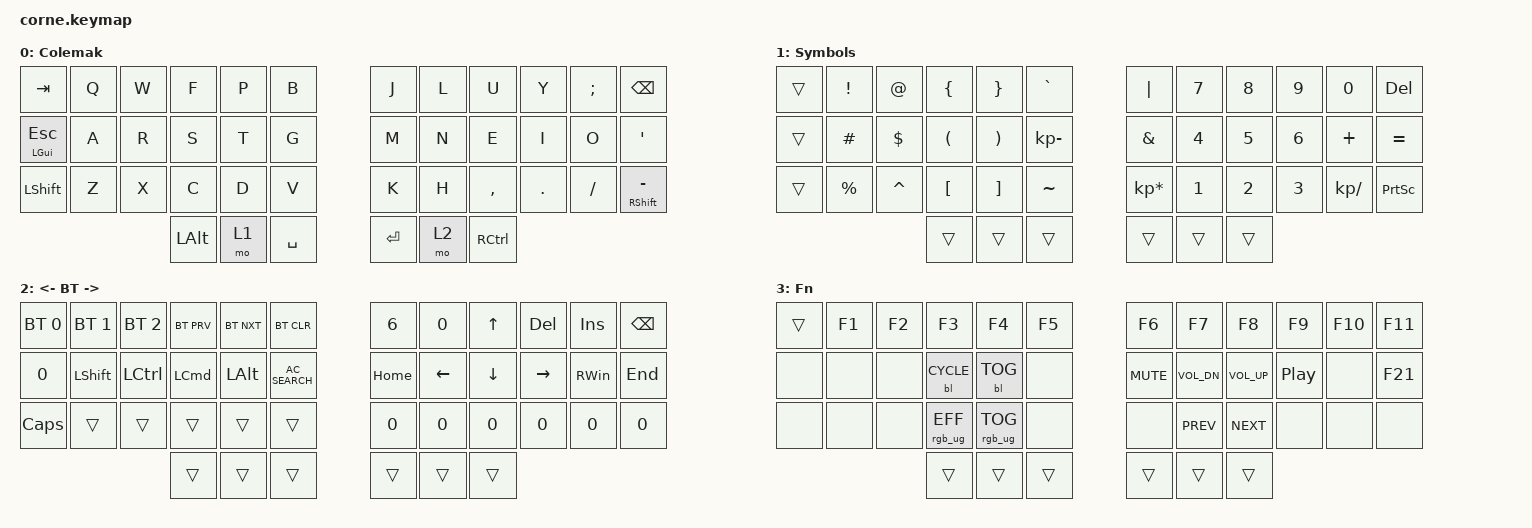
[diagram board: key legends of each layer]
/*
 * Copyright (c) 2020 The ZMK Contributors
 *
 * SPDX-License-Identifier: MIT
 */

#include <behaviors.dtsi>
#include <dt-bindings/zmk/backlight.h>
#include <dt-bindings/zmk/bt.h>
#include <dt-bindings/zmk/keys.h>
#include <dt-bindings/zmk/rgb.h>

/ {
    keymap {
        compatible = "zmk,keymap";

        // -----------------------------------------------------------------------------------------
        // |  TAB |  Q  |  W  |  F  |  P  |  B  |   |  J  |  L   |  U  |  Y  |  ;  | BKSP |
        // | GUI |  A  |  R  |  S  |  T  |  G  |   |  M  |  N   |  E  |  I  |  O  |  '   |
        // | LSHFT |  Z  |  X  |  C  |  D  |  V  |   |  K  |  H   |  ,  |  .  |  /  | SHFT  |
        //                    | ALT | LWR | SPC |   | ENT | RSE  | CTRL |

        default_layer {
            bindings = <
&kp TAB           &kp Q  &kp W  &kp F     &kp P  &kp B        &kp J    &kp L  &kp U      &kp Y    &kp SEMI  &kp BSPC
&mt LEFT_GUI ESC  &kp A  &kp R  &kp S     &kp T  &kp G        &kp M    &kp N  &kp E      &kp I    &kp O     &kp SQT
&kp LSHFT         &kp Z  &kp X  &kp C     &kp D  &kp V        &kp K    &kp H  &kp COMMA  &kp DOT  &kp FSLH  &mt RIGHT_SHIFT MINUS
                                &kp LALT  &mo 1  &kp SPACE    &kp RET  &mo 2  &kp RCTRL
            >;

            label = "Colemak";
        };

        lower_layer {
            // -----------------------------------------------------------------------------------------
            // |  TAB |  !  |  @  |  #  |  $  |  %  |   |  ^  |  &  |  *  |  (  |  )  | BKSP |
            // | CTRL |     |     |     |     |     |   |  -  |  =  |  [  |  ]  |  \  |  `   |
            // | SHFT |     |     |     |     |     |   |  _  |  +  |  {  |  }  | "|" |  ~   |
            //                    | GUI |     | SPC |   | ENT |     | ALT |

            bindings = <
&trans  &kp EXCL     &kp AT      &kp LEFT_BRACE        &kp RIGHT_BRACE        &kp GRAVE       &kp PIPE         &kp NUMBER_7  &kp NUMBER_8  &kp NUMBER_9  &kp NUMBER_0   &kp DEL
&trans  &kp HASH     &kp DOLLAR  &kp LEFT_PARENTHESIS  &kp RIGHT_PARENTHESIS  &kp KP_MINUS    &kp AMPS         &kp NUMBER_4  &kp NUMBER_5  &kp NUMBER_6  &kp PLUS       &kp EQUAL
&trans  &kp PERCENT  &kp CARET   &kp LEFT_BRACKET      &kp RIGHT_BRACKET      &kp TILDE       &kp KP_MULTIPLY  &kp NUMBER_1  &kp NUMBER_2  &kp NUMBER_3  &kp KP_DIVIDE  &kp PRINTSCREEN
                                 &trans                &trans                 &trans          &trans           &trans        &trans
            >;

            label = "Symbols";
        };

        raise_layer {
            // -----------------------------------------------------------------------------------------
            // |  TAB |  1  |  2  |  3  |  4  |  5  |   |  6  |  7  |  8  |  9  |  0  | BKSP |
            // | BTCLR| BT1 | BT2 | BT3 | BT4 | BT5 |   | LFT | DWN |  UP | RGT |     |      |
            // | SHFT |     |     |     |     |     |   |     |     |     |     |     |      |
            //                    | GUI |     | SPC |   | ENT |     | ALT |

            bindings = <
&bt BT_SEL 0  &bt BT_SEL 1    &bt BT_SEL 2  &bt BT_PRV        &bt BT_NXT    &bt BT_CLR         &kp N6    &kp 0     &kp UP    &kp DEL    &kp INSERT     &kp BSPC
&kp 0         &kp LEFT_SHIFT  &kp LCTRL     &kp LEFT_COMMAND  &kp LEFT_ALT  &kp C_AC_SEARCH    &kp HOME  &kp LEFT  &kp DOWN  &kp RIGHT  &kp RIGHT_WIN  &kp END
&kp CAPS      &trans          &trans        &trans            &trans        &trans             &kp 0     &kp 0     &kp 0     &kp 0      &kp 0          &kp 0
                                            &trans            &trans        &trans             &trans    &trans    &trans
            >;

            label = "<- BT ->";
        };

        layer_3 {
            bindings = <
&trans  &kp F1  &kp F2  &kp F3           &kp F4           &kp F5    &kp F6      &kp F7        &kp F8        &kp F9            &kp F10  &kp F11
&none   &none   &none   &bl BL_CYCLE     &bl BL_TOG       &none     &kp K_MUTE  &kp C_VOL_DN  &kp C_VOL_UP  &kp C_PLAY_PAUSE  &none    &kp F21
&none   &none   &none   &rgb_ug RGB_EFF  &rgb_ug RGB_TOG  &none     &none       &kp K_PREV    &kp K_NEXT    &none             &none    &none
                        &trans           &trans           &trans    &trans      &trans        &trans
            >;

            label = "Fn";
        };
    };

    conditional_layers {
        compatible = "zmk,conditional-layers";

        ShowFn {
            if-layers = <1 2>;
            then-layer = <3>;
        };
    };
};
